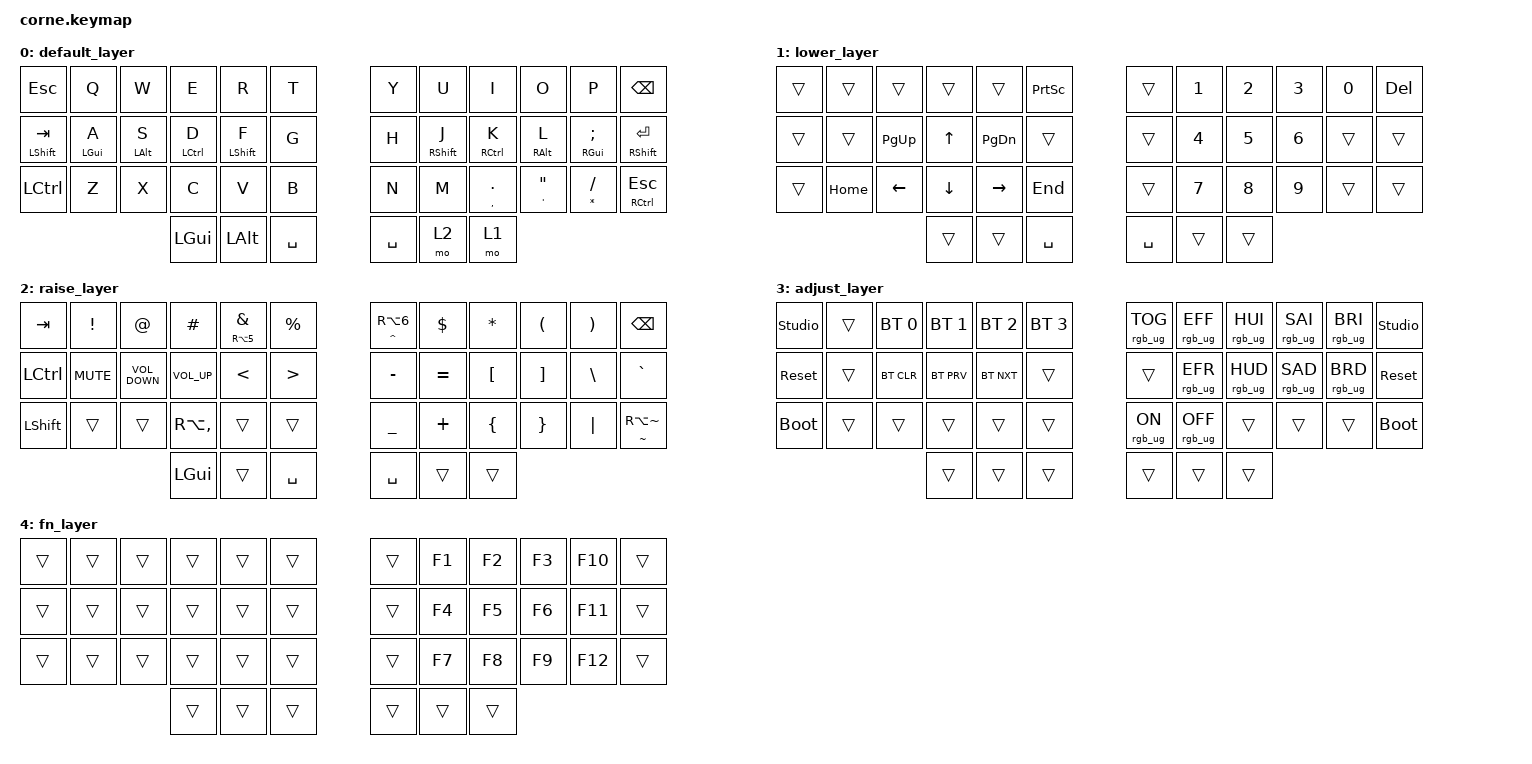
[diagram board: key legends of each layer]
/*
 * Copyright (c) 2020 The ZMK Contributors
 *
 * SPDX-License-Identifier: MIT
 */

#include <behaviors.dtsi>
#include <dt-bindings/zmk/keys.h>
#include <dt-bindings/zmk/bt.h>
#include <dt-bindings/zmk/rgb.h>

// AltGr+6 produces dead_circumflex on us(altgr-intl)
#define DEAD_CARET RA(N6)
// AltGr+5 produces euro sign on us(altgr-intl)
#define EURO RA(N5)

/ {
    behaviors {
        // Left-hand homerow mod: hold only triggers if next key is right-hand or a thumb
        hm_l: homerow_mod_left {
            compatible = "zmk,behavior-hold-tap";
            #binding-cells = <2>;
            bindings = <&kp>, <&kp>;
            flavor = "balanced";
            tapping-term-ms = <280>;
            quick-tap-ms = <175>;
            require-prior-idle-ms = <150>;
            hold-trigger-on-release;
            hold-trigger-key-positions = <6 7 8 9 10 11 18 19 20 21 22 23 30 31 32 33 34 35 36 37 38 39 40 41>;
        };
        // Right-hand homerow mod: hold only triggers if next key is left-hand or a thumb
        hm_r: homerow_mod_right {
            compatible = "zmk,behavior-hold-tap";
            #binding-cells = <2>;
            bindings = <&kp>, <&kp>;
            flavor = "balanced";
            tapping-term-ms = <280>;
            quick-tap-ms = <175>;
            require-prior-idle-ms = <150>;
            hold-trigger-on-release;
            hold-trigger-key-positions = <0 1 2 3 4 5 12 13 14 15 16 17 24 25 26 27 28 29 36 37 38 39 40 41>;
        };
    };

    conditional_layers {
        compatible = "zmk,conditional-layers";
        tri_layer {
            if-layers = <1 2>;
            then-layer = <3>;
        };
    };

    combos {
        compatible = "zmk,combos";

        Escape {
            bindings = <&kp ESC>;
            key-positions = <0 11>;
        };

        OpenParenthesis {
            bindings = <&kp LEFT_PARENTHESIS>;
            key-positions = <6 7>;
        };

        OpenBrace {
            bindings = <&kp LEFT_BRACE>;
            key-positions = <18 19>;
        };

        OpenBracket {
            bindings = <&kp LEFT_BRACKET>;
            key-positions = <30 31>;
        };

        CloseParenthasis {
            bindings = <&kp RIGHT_PARENTHESIS>;
            key-positions = <8 7>;
        };

        CloseBrace {
            bindings = <&kp RIGHT_BRACE>;
            key-positions = <19 20>;
        };

        CloseBracket {
            bindings = <&kp RIGHT_BRACKET>;
            key-positions = <31 32>;
        };

        LessThan {
            bindings = <&kp LESS_THAN>;
            key-positions = <3 4>;
        };

        GreatherThan {
            bindings = <&kp GREATER_THAN>;
            key-positions = <4 5>;
        };

        Enter {
            bindings = <&kp ENTER>;
            key-positions = <38 39>;
        };

        // Three-key combo on the adjust layer to wipe all BT profiles.
        // Scoped to layer 3 so S+D+F on the default layer can't trigger it.
        BluetoothClearAll {
            bindings = <&bt BT_CLR_ALL>;
            key-positions = <14 15 16>;
            layers = <3>;
        };

        FunctionLayer {
            bindings = <&mo 4>;
            key-positions = <13 17>;
            layers = <0>;
        };

        PlayPause {
            bindings = <&kp C_PLAY_PAUSE>;
            key-positions = <13 14>;
            layers = <2>;
        };
    };

    keymap {
        compatible = "zmk,keymap";

        default_layer {
            // -----------------------------------------------------------------------------------------
            // |  TAB |  Q  |  W  |  E  |  R  |  T  |   |  Y  |  U   |  I  |  O  |  P  | BSPC |
            // | SHFT |  A  |  S  |  D  |  F  |  G  |   |  H  |  J   |  K  |  L  |  ;  | ENTR |
            // | CTRL |  Z  |  X  |  C  |  V  |  B  |   |  N  |  M   | ./, | '/" |  /* | EQU |
            //                    | GUI | LWR | SPC |   | SPC | L2   | L1  |

            bindings = <
&kp ESC        &kp Q  &kp W  &kp E     &kp R         &kp T        &kp Y      &kp U  &kp I          &kp O                  &kp P          &kp BSPC
&mt LSHIFT TAB &hm_l LGUI A  &hm_l LALT S  &hm_l LCTRL D  &hm_l LSHIFT F  &kp G  &kp H  &hm_r RSHIFT J  &hm_r RCTRL K  &hm_r RALT L  &hm_r RGUI SEMI  &mt RSHIFT ENTER
&kp LCTRL      &kp Z  &kp X  &kp C     &kp V         &kp B        &kp N      &kp M  &mt COMMA DOT  &mt SQT DOUBLE_QUOTES  &mt STAR FSLH  &mt RCTRL ESC
                             &kp LGUI  &kp LEFT_ALT  &kp SPACE    &kp SPACE  &mo 2  &mo 1
            >;
        };

        lower_layer{
            // -----------------------------------------------------------------------------------------
            // |      |     |     |     |     |     |   |     |  1  |  2  |  3  |  0  | DEL |
            // |      |     | PUP | UP  | PDN |     |   |     |  4  |  5  |  6  |     |     |
            // |      | HOME| LFT | DWN | RGT | END |   |     |  7  |  8  |  9  |     |     |
            //                    |     |     | SPC |   | SPC |     |     |

            bindings = <
&trans &trans     &trans     &trans    &trans     &kp PSCRN    &trans     &kp NUMBER_1  &kp NUMBER_2  &kp NUMBER_3  &kp N0  &kp DEL
&trans &trans     &kp PG_UP  &kp UP    &kp PG_DN  &trans       &trans     &kp NUMBER_4  &kp NUMBER_5  &kp NUMBER_6  &trans  &trans
&trans &kp HOME   &kp LEFT   &kp DOWN  &kp RIGHT  &kp END      &trans     &kp NUMBER_7  &kp NUMBER_8  &kp NUMBER_9  &trans  &trans
                             &trans    &trans     &kp SPACE    &kp SPACE  &trans        &trans
            >;
        };

        raise_layer {
            // -----------------------------------------------------------------------------------------
            // |  TAB |  !  |  @  |  #  |  &  |  %  |   |  ^  |  $  |  *  |  (  |  )  | BSPC |
            // | CTRL |MUTE |V_UP |V_DWN|  <  |  >  |   |  -  |  =  |  [  |  ]  |  \  |  `   |
            // | SHFT |     |     |     |     |     |   |  _  |  +  |  {  |  }  | "|" |  ~   |
            //                    | GUI |     | SPC |   | SPC |     |     |

            bindings = <
&kp TAB    &kp EXCL     &kp AT              &kp HASH            &mt EURO AMPERSAND  &kp PRCNT           &mt CARET DEAD_CARET  &kp DOLLAR  &kp ASTRK  &kp LPAR  &kp RPAR  &kp BSPC
&kp LCTRL  &kp C_MUTE   &kp C_VOLUME_DOWN   &kp C_VOLUME_UP     &kp LESS_THAN       &kp GREATER_THAN    &kp MINUS             &kp EQUAL   &kp LBKT   &kp RBKT  &kp BSLH  &kp GRAVE
&kp LSHFT  &trans       &trans              &kp RA(COMMA)       &trans              &trans              &kp UNDER             &kp PLUS    &kp LBRC   &kp RBRC  &kp PIPE  &mt TILDE RA(TILDE)
                                            &kp LGUI            &trans              &kp SPACE           &kp SPACE             &trans      &trans
            >;
        };

        adjust_layer {
            // -----------------------------------------------------------------------------------------
            // | UNLOCK |     | BT 0 | BT 1 | BT 2 | BT 3 |   | TOG | EFF | HUI | SAI | BRI | UNLOCK |
            // | RESET  |     | CLR  | PRV  | NXT  |      |   |     | EFR | HUD | SAD | BRD | RESET  |
            // | BOOT   |     |      |      |      |      |   | ON  | OFF |     |     |     | BOOT   |
            //                       |      |      |      |   |     |     |     |

            bindings = <
&studio_unlock &trans &bt BT_SEL 0 &bt BT_SEL 1 &bt BT_SEL 2 &bt BT_SEL 3    &rgb_ug RGB_TOG &rgb_ug RGB_EFF &rgb_ug RGB_HUI &rgb_ug RGB_SAI &rgb_ug RGB_BRI &studio_unlock
&sys_reset     &trans &bt BT_CLR   &bt BT_PRV   &bt BT_NXT   &trans          &trans          &rgb_ug RGB_EFR &rgb_ug RGB_HUD &rgb_ug RGB_SAD &rgb_ug RGB_BRD &sys_reset
&bootloader    &trans &trans       &trans       &trans       &trans          &rgb_ug RGB_ON  &rgb_ug RGB_OFF &trans          &trans          &trans          &bootloader
                                   &trans       &trans       &trans          &trans          &trans          &trans
            >;
        };

        fn_layer {
            // -----------------------------------------------------------------------------------------
            // |      |     |     |     |     |     |   |     |  F1 |  F2 |  F3 | F10 |     |
            // |      |     |     |     |     |     |   |     |  F4 |  F5 |  F6 | F11 |     |
            // |      |     |     |     |     |     |   |     |  F7 |  F8 |  F9 | F12 |     |
            //                    |     |     |     |   |     |     |     |

            bindings = <
&trans  &trans  &trans  &trans  &trans  &trans    &trans  &kp F1  &kp F2  &kp F3  &kp F10  &trans
&trans  &trans  &trans  &trans  &trans  &trans    &trans  &kp F4  &kp F5  &kp F6  &kp F11  &trans
&trans  &trans  &trans  &trans  &trans  &trans    &trans  &kp F7  &kp F8  &kp F9  &kp F12  &trans
                        &trans  &trans  &trans    &trans  &trans  &trans
            >;
        };

        // Empty slots reserved for ZMK Studio: Studio cannot add layers at runtime,
        // so we pre-declare these so they show up as "available" layers to enable and edit.
        extra1 { status = "reserved"; };
        extra2 { status = "reserved"; };
        extra3 { status = "reserved"; };
    };
};


//For new Layers
    // -----------------------------------------------------------------------------------------
    // |      |     |     |     |     |     |   |     |     |     |     |     |      |
    // |      |     |     |     |     |     |   |     |     |     |     |     |      |
    // |      |     |     |     |     |     |   |     |     |     |     |     |      |
    //                    |     |     |     |   |     |     |     |
